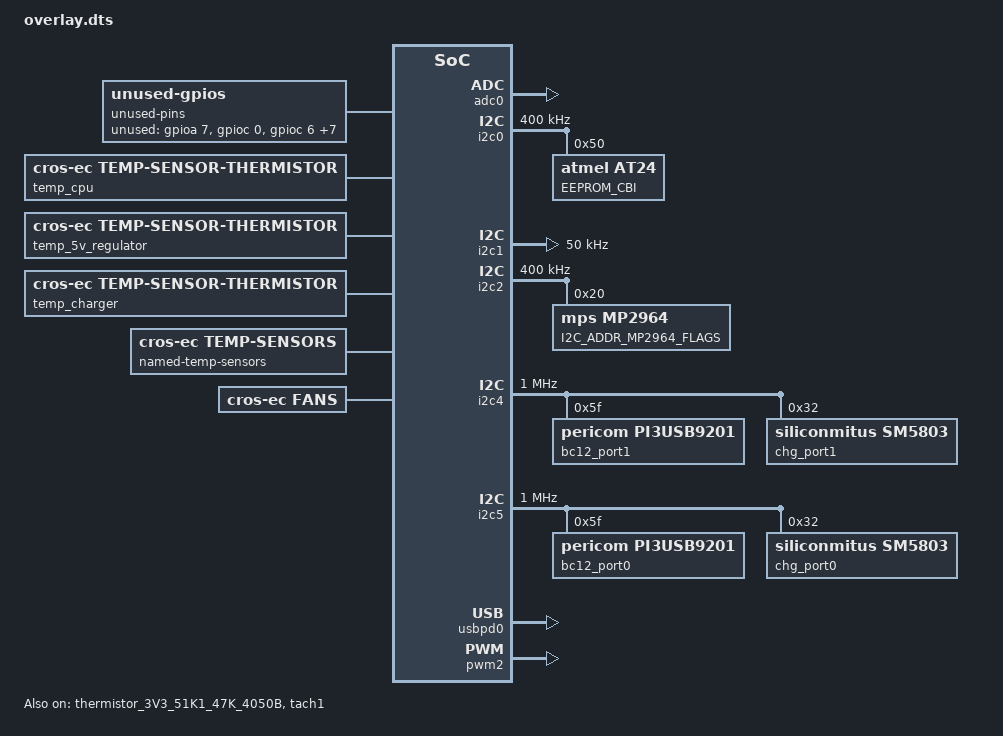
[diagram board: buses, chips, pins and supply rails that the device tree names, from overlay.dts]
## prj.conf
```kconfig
# Copyright 2022 The ChromiumOS Authors
# Use of this source code is governed by a BSD-style license that can be
# found in the LICENSE file.

CONFIG_BOARD_YAVIKS=y

# Ensure recovery key combination (esc+refresh+power) is reliable: b/236580049
CONFIG_PLATFORM_EC_KEYBOARD_PWRBTN_ASSERTS_KSI3=y
CONFIG_PLATFORM_EC_KEYBOARD_REFRESH_ROW3=y

# Sensors: disabled; yaviks is clamshell-only
CONFIG_PLATFORM_EC_LID_ANGLE=n
CONFIG_PLATFORM_EC_LID_ANGLE_UPDATE=n
CONFIG_PLATFORM_EC_CONSOLE_CMD_ACCELS=n
CONFIG_PLATFORM_EC_CONSOLE_CMD_ACCEL_INFO=n
CONFIG_PLATFORM_EC_ACCEL_FIFO=n
CONFIG_PLATFORM_EC_SENSOR_TIGHT_TIMESTAMPS=n
CONFIG_PLATFORM_EC_GMR_TABLET_MODE=n
CONFIG_PLATFORM_EC_TABLET_MODE=n
CONFIG_PLATFORM_EC_TABLET_MODE_SWITCH=n
CONFIG_PLATFORM_EC_VOLUME_BUTTONS=n
CONFIG_PLATFORM_EC_MAX_SENSOR_FREQ_MILLIHZ=100000

# Keyboard
CONFIG_PLATFORM_EC_KEYBOARD_KEYPAD=y
CONFIG_PLATFORM_EC_KBLIGHT_ENABLE_PIN=n

# Fan
CONFIG_PLATFORM_EC_FAN=y

# LED
CONFIG_PLATFORM_EC_LED_PWM=n
```

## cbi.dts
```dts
/* Copyright 2022 The ChromiumOS Authors
 * Use of this source code is governed by a BSD-style license that can be
 * found in the LICENSE file.
 */

/ {
	/* Craask-specific fw_config fields. */
	nissa-fw-config {
		/*
		 * FW_CONFIG field for multiple wi-fi SAR.
		 *
		 *	start = <2>;
		 *	size = <2>;
		 */

		/*
		 * FW_CONFIG field to enable fan or not.
		 */
		fan {
			enum-name = "FW_FAN";
			start = <4>;
			size = <1>;

			no-fan {
				compatible = "cros-ec,cbi-fw-config-value";
				enum-name = "FW_FAN_NOT_PRESENT";
				value = <0>;
			};
			fan-present {
				compatible = "cros-ec,cbi-fw-config-value";
				enum-name = "FW_FAN_PRESENT";
				value = <1>;
				/*
				 * Set as default so that unprovisioned
				 * configs will run the fan regardless.
				 */
				default;
			};
		};

		/*
		 * FW_CONFIG field to indicate which keyboard layout
		 * should be used.
		 */
		keyboard {
			enum-name = "FW_KB_LAYOUT";
			start = <5>;
			size = <1>;

			layout-1 {
				compatible = "cros-ec,cbi-fw-config-value";
				enum-name = "FW_KB_LAYOUT_DEFAULT";
				value = <0>;
				default;
			};
			layout-2 {
				compatible = "cros-ec,cbi-fw-config-value";
				enum-name = "FW_KB_LAYOUT_US2";
				value = <1>;
			};
		};

		/*
		 * FW_CONFIG field to indicate which keyboard layout
		 * should be used.
		 */
		keyboard-backlight {
			enum-name = "FW_KB_BACKLIGHT";
			start = <6>;
			size = <1>;

			without-keyboard-backlight {
				compatible = "cros-ec,cbi-fw-config-value";
				enum-name = "FW_KB_BACKLIGHT_OFF";
				value = <1>;
			};
			with-keyboard-backlight {
				compatible = "cros-ec,cbi-fw-config-value";
				enum-name = "FW_KB_BACKLIGHT_ON";
				value = <0>;
				default;
			};
		};

		/*
		 * FW_CONFIG field for multiple touch panel.
		 *
		 *	start = <7>;
		 *	size = <2>;
		 */

		/*
		 * FW_CONFIG field for multiple storage.
		 *
		 *	start = <31>;
		 *	size = <1>;
		 */
	};
};
```

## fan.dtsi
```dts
/* Copyright 2022 The ChromiumOS Authors
 * Use of this source code is governed by a BSD-style license that can be
 * found in the LICENSE file.
 */
/ {
	fans {
		compatible = "cros-ec,fans";
		fan_0 {
			pwms = <&pwm2 PWM_CHANNEL_2 PWM_KHZ(25) PWM_POLARITY_NORMAL>;
			tach = <&tach1>;
			rpm_min = <2500>;
			rpm_start = <2500>;
			rpm_max = <4100>;
			rpm_deviation = <1>;
			enable_gpio = <&gpio_fan_enable>;
		};
	};
	fan_steps {
		compatible = "cros-ec,fan-steps";
		level_0 {
			temp_on = <44 47 0>;
			temp_off = <99 99 99>;
			rpm_target = <0 0>;
		};
		level_1 {
			temp_on = <48 48 0>;
			temp_off = <43 45 99>;
			rpm_target = <2600 0>;
		};
		level_2 {
			temp_on = <50 49 0>;
			temp_off = <47 46 99>;
			rpm_target = <2800 0>;
		};
		level_3 {
			temp_on = <52 50 54>;
			temp_off = <49 47 51>;
			rpm_target = <3000 0>;
		};
		level_4 {
			temp_on = <54 56 60>;
			temp_off = <51 48 52>;
			rpm_target = <3300 0>;
		};
		level_5 {
			temp_on = <60 60 64>;
			temp_off = <53 52 56>;
			rpm_target = <3600 0>;
		};
		level_6 {
			temp_on = <100 100 100>;
			temp_off = <59 54 58>;
			rpm_target = <4100 0>;
		};
	};
};
/* pwm for fan */
&pwm2 {
	status = "okay";
	prescaler-cx = <PWM_PRESCALER_C6>;
	pinctrl-0 = <&pwm2_gpa2_default>;
	pinctrl-names = "default";
};
/* fan tachometer sensor */
&tach1 {
	status = "okay";
	channel = <IT8XXX2_TACH_CHANNEL_A>;
	pulses-per-round = <2>;
	pinctrl-0 = <&tach1a_gpd7_default>;
	pinctrl-names = "default";
};
```

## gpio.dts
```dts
/*
 * Copyright 2022 The ChromiumOS Authors
 * Use of this source code is governed by a BSD-style license that can be
 * found in the LICENSE file.
 */

/ {

	named-adc-channels {
		compatible = "named-adc-channels";

		adc_ec_vsense_pp1050_proc: ec_vsense_pp1050_proc {
			enum-name = "ADC_PP1050_PROC";
			io-channels = <&adc0 14>;
		};
		adc_ec_vsense_pp3300_s5: ec_vsense_pp3300_s5 {
			enum-name = "ADC_PP3300_S5";
			io-channels = <&adc0 0>;
		};
		adc_temp_sensor_1: temp_sensor_1 {
			enum-name = "ADC_TEMP_SENSOR_1";
			io-channels = <&adc0 2>;
		};
		adc_temp_sensor_2: temp_sensor_2 {
			enum-name = "ADC_TEMP_SENSOR_2";
			io-channels = <&adc0 3>;
		};
		adc_temp_sensor_3: temp_sensor_3 {
			enum-name = "ADC_TEMP_SENSOR_3";
			io-channels = <&adc0 13>;
		};
	};

	named-gpios {
		compatible = "named-gpios";

		gpio_all_sys_pwrgd: all_sys_pwrgd {
			gpios = <&gpiob 7 GPIO_INPUT>;
		};
		gpio_ccd_mode_odl: ccd_mode_odl {
			gpios = <&gpioh 5 GPIO_INPUT>;
			enum-name = "GPIO_CCD_MODE_ODL";
		};
		gpio_cpu_c10_gate_l: cpu_c10_gate_l {
			gpios = <&gpiog 1 GPIO_INPUT>;
		};
		gpio_ec_battery_pres_odl: ec_battery_pres_odl {
			gpios = <&gpioi 4 GPIO_INPUT>;
			enum-name = "GPIO_BATT_PRES_ODL";
		};
		gpio_ec_cbi_wp: ec_cbi_wp {
			gpios = <&gpioj 5 GPIO_OUTPUT>;
		};
		gpio_ec_edp_bl_en_od: ec_edp_bl_en_od {
			gpios = <&gpiok 4 GPIO_ODR_HIGH>;
			enum-name = "GPIO_ENABLE_BACKLIGHT";
		};
		gpio_ec_entering_rw: ec_entering_rw {
			gpios = <&gpioc 7 GPIO_OUTPUT>;
			enum-name = "GPIO_ENTERING_RW";
		};
		gpio_ec_gsc_packet_mode: ec_gsc_packet_mode {
			gpios = <&gpioh 1 GPIO_OUTPUT>;
			enum-name = "GPIO_PACKET_MODE_EN";
		};
		gpio_ec_pch_wake_odl: ec_pch_wake_odl {
			gpios = <&gpiob 2 GPIO_ODR_LOW>;
		};
		gpio_ec_prochot_odl: ec_prochot_odl {
			gpios = <&gpioi 1 (GPIO_ODR_HIGH | GPIO_VOLTAGE_1P8)>;
		};
		gpio_ec_soc_dsw_pwrok: ec_soc_dsw_pwrok {
			gpios = <&gpiol 7 GPIO_OUTPUT>;
			no-auto-init;
		};
		gpio_ec_soc_hdmi_hpd: ec_soc_hdmi_hpd {
			gpios = <&gpiok 7 GPIO_OUTPUT>;
		};
		gpio_ec_soc_int_odl: ec_soc_int_odl {
			gpios = <&gpiod 5 GPIO_ODR_HIGH>;
			enum-name = "GPIO_EC_INT_L";
		};
		gpio_ec_soc_pch_pwrok_od: ec_soc_pch_pwrok_od {
			gpios = <&gpiod 6 GPIO_ODR_HIGH>;
			no-auto-init;
		};
		gpio_ec_soc_pwr_btn_odl: ec_soc_pwr_btn_odl {
			gpios = <&gpiob 6 GPIO_ODR_HIGH>;
			enum-name = "GPIO_PCH_PWRBTN_L";
		};
		gpio_ec_soc_rsmrst_l: ec_soc_rsmrst_l {
			gpios = <&gpioh 0 GPIO_OUTPUT>;
			no-auto-init;
		};
		gpio_ec_soc_rtcrst: ec_soc_rtcrst {
			gpios = <&gpiok 2 GPIO_OUTPUT>;
		};
		gpio_ec_soc_sys_pwrok: ec_soc_sys_pwrok {
			gpios = <&gpiof 2 GPIO_OUTPUT>;
			no-auto-init;
		};
		gpio_ec_soc_vccst_pwrgd_od: ec_soc_vccst_pwrgd_od {
			gpios = <&gpioe 5 GPIO_ODR_HIGH>;
			no-auto-init;
		};
		gpio_ec_wp_odl: ec_wp_odl {
			gpios = <&gpioa 6 (GPIO_INPUT | GPIO_ACTIVE_LOW)>;
		};
		gpio_en_pp3300_s5: en_pp3300_s5 {
			gpios = <&gpioc 5 GPIO_OUTPUT>;
			enum-name = "GPIO_TEMP_SENSOR_POWER";
			no-auto-init;
		};
		gpio_en_pp5000_pen_x: en_pp5000_pen_x {
			gpios = <&gpiob 5 GPIO_OUTPUT>;
		};
		gpio_en_pp5000_s5: en_pp5000_s5 {
			gpios = <&gpiok 5 GPIO_OUTPUT>;
			no-auto-init;
		};
		gpio_en_slp_z: en_slp_z {
			gpios = <&gpiok 3 GPIO_OUTPUT>;
		};
		gpio_en_usb_a0_vbus: en_usb_a0_vbus {
			gpios = <&gpiol 6 GPIO_OUTPUT>;
		};
		gpio_en_usb_c0_cc1_vconn: en_usb_c0_cc1_vconn {
			gpios = <&gpioh 4 GPIO_OUTPUT>;
		};
		gpio_en_usb_c0_cc2_vconn: en_usb_c0_cc2_vconn {
			gpios = <&gpioh 6 GPIO_OUTPUT>;
		};
		gpio_gsc_ec_pwr_btn_odl: gsc_ec_pwr_btn_odl {
			gpios = <&gpioe 2 GPIO_INPUT_PULL_UP>;
			enum-name = "GPIO_POWER_BUTTON_L";
		};
		gpio_imvp91_vrrdy_od: imvp91_vrrdy_od {
			gpios = <&gpioj 4 GPIO_INPUT>;
			no-auto-init;
		};
		gpio_lid_open: lid_open {
			gpios = <&gpiof 3 GPIO_INPUT>;
			enum-name = "GPIO_LID_OPEN";
		};
		gpio_pen_detect_odl: pen_detect_odl {
			gpios = <&gpioj 1 GPIO_INPUT_PULL_UP>;
		};
		gpio_pg_pp1050_mem_s3_od: pg_pp1050_mem_s3_od {
			gpios = <&gpiod 3 GPIO_INPUT>;
		};
		gpio_pg_pp5000_s5_od: pg_pp5000_s5_od {
			gpios = <&gpioe 3 GPIO_INPUT>;
		};
		gpio_rsmrst_pwrgd_l: rsmrst_pwrgd_l {
			gpios = <&gpioe 1 GPIO_INPUT_PULL_UP>;
			no-auto-init;
		};
		gpio_slp_s0_l: slp_s0_l {
			gpios = <&gpioe 4 GPIO_INPUT>;
			no-auto-init;
		};
		gpio_slp_s3_l: slp_s3_l {
			gpios = <&gpioh 3 GPIO_INPUT>;
			no-auto-init;
		};
		gpio_slp_s4_l: slp_s4_l {
			gpios = <&gpioi 5 GPIO_INPUT>;
		};
		gpio_slp_sus_l: slp_sus_l {
			gpios = <&gpiog 2 GPIO_INPUT>;
			no-auto-init;
		};
		gpio_sub_usb_a1_ilimit_sdp: sub_usb_a1_ilimit_sdp {
			gpios = <&gpiof 1 GPIO_OUTPUT>;
			enum-name = "GPIO_USB2_ILIM_SEL";
		};
		gpio_sys_rst_odl: sys_rst_odl {
			gpios = <&gpiod 1 GPIO_ODR_HIGH>;
			no-auto-init;
		};
		gpio_usb_a0_ilimit_sdp: usb_a0_ilimit_sdp {
			gpios = <&gpiol 5 GPIO_OUTPUT>;
			enum-name = "GPIO_USB1_ILIM_SEL";
		};
		gpio_usb_c0_frs: usb_c0_frs {
			gpios = <&gpioc 4 GPIO_OUTPUT>;
		};
		gpio_usb_c0_int_odl: usb_c0_int_odl {
			gpios = <&gpiok 0 GPIO_INPUT_PULL_UP>;
		};
		gpio_vccin_aux_vid0: vccin_aux_vid0 {
			gpios = <&gpiod 0 (GPIO_INPUT | GPIO_VOLTAGE_1P8)>;
		};
		gpio_vccin_aux_vid1: vccin_aux_vid1 {
			gpios = <&gpiok 1 (GPIO_INPUT | GPIO_VOLTAGE_1P8)>;
		};
		gpio_c1_charger_led_white_l: c1_charger_led_white_l {
			gpios = <&gpiol 4 GPIO_OUTPUT_HIGH>;
		};
		gpio_c1_charger_led_amber_l: c1_charger_led_amber_l {
			gpios = <&gpiod 4 GPIO_OUTPUT_HIGH>;
		};
		gpio_c0_charger_led_white_l: c0_charger_led_white_l {
			gpios = <&gpioc 3 GPIO_OUTPUT_HIGH>;
		};
		gpio_c0_charger_led_amber_l: c0_charger_led_amber_l {
			gpios = <&gpioj 7 GPIO_OUTPUT_HIGH>;
		};
	};

	named-i2c-ports {
		compatible = "named-i2c-ports";

		i2c_ec_i2c_eeprom: ec_i2c_eeprom {
			i2c-port = <&i2c0>;
			enum-names = "I2C_PORT_EEPROM";
		};
		i2c_ec_i2c_batt: ec_i2c_batt {
			i2c-port = <&i2c1>;
			enum-names = "I2C_PORT_BATTERY";
		};
		i2c_ec_i2c_sensor: ec_i2c_sensor {
			i2c-port = <&i2c2>;
			enum-names = "I2C_PORT_SENSOR";
		};
		i2c_ec_i2c_sub_usb_c1: ec_i2c_sub_usb_c1 {
			i2c-port = <&i2c4>;
			enum-names = "I2C_PORT_USB_C1_TCPC";
		};
		i2c_ec_i2c_usb_c0: ec_i2c_usb_c0 {
			i2c-port = <&i2c5>;
			enum-names = "I2C_PORT_USB_C0_TCPC";
		};
	};
};
```

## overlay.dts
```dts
/* Copyright 2022 The ChromiumOS Authors
 * Use of this source code is governed by a BSD-style license that can be
 * found in the LICENSE file.
 */

#include <cros/thermistor/thermistor.dtsi>

/ {
	aliases {
		gpio-cbi-wp = &gpio_ec_cbi_wp;
		gpio-wp = &gpio_ec_wp_odl;
		int-wp = &int_wp_l;
		/*
		 * USB-C: interrupt input.
		 * I2C pins are on i2c_ec_i2c_sub_usb_c1
		 */
		gpio-usb-c1-int-odl = &gpio_sb_1;
		/*
		 * USB-A: VBUS enable output
		 * LTE: power enable output
		 */
		gpio-en-usb-a1-vbus = &gpio_sb_2;
		/*
		 * Enable S5 rails for LTE sub-board
		 */
		gpio-en-sub-s5-rails = &gpio_sb_2;
	};

	ec-console {
		compatible = "ec-console";
		disabled = "events", "lpc", "hostcmd";
	};

	batteries {
		default_battery: cosmx {
			compatible = "cosmx,gh02047xl", "battery-smart";
		};
		dynapack_atl_gh02047xl {
			compatible = "dynapack,atl_gh02047xl", "battery-smart";
		};
		dynapack_cosmx_gh02047xl {
			compatible = "dynapack,cosmx_gh02047xl", "battery-smart";
		};
		smp_coslight_gh02047xl {
			compatible = "smp,coslight_gh02047xl", "battery-smart";
		};
		smp_highpower_gh02047xl {
			compatible = "smp,highpower_gh02047xl", "battery-smart";
		};
		default_battery_3s:cosmx_si03058xl {
			compatible = "cosmx,si03058xl", "battery-smart";
		};
		smp_highpower_si03058xl {
			compatible = "smp,highpower_si03058xl", "battery-smart";
		};
	};

	hibernate-wake-pins {
		compatible = "cros-ec,hibernate-wake-pins";
		wakeup-irqs = <
			&int_power_button
			&int_lid_open
		>;
	};

	gpio-interrupts {
		compatible = "cros-ec,gpio-interrupts";

		int_power_button: power_button {
			irq-pin = <&gpio_gsc_ec_pwr_btn_odl>;
			flags = <GPIO_INT_EDGE_BOTH>;
			handler = "power_button_interrupt";
		};
		int_wp_l: wp_l {
			irq-pin = <&gpio_ec_wp_odl>;
			flags = <GPIO_INT_EDGE_BOTH>;
			handler = "switch_interrupt";
		};
		int_lid_open: lid_open {
			irq-pin = <&gpio_lid_open>;
			flags = <GPIO_INT_EDGE_BOTH>;
			handler = "lid_interrupt";
		};
		int_usb_c0: usb_c0 {
			irq-pin = <&gpio_usb_c0_int_odl>;
			flags = <GPIO_INT_EDGE_FALLING>;
			handler = "usb_c0_interrupt";
		};
		int_usb_c1: usb_c1 {
			irq-pin = <&gpio_sb_1>;
			flags = <GPIO_INT_EDGE_FALLING>;
			handler = "usb_c1_interrupt";
		};
	};

	unused-pins {
		compatible = "unused-gpios";
		unused-gpios = <&gpioa 7 0>,
			       <&gpioc 0 0>,
			       <&gpioc 6 0>,
			       <&gpiod 7 0>,
			       <&gpioh 2 0>,
			       <&gpioi 6 0>,
			       <&gpioi 7 0>,
			       <&gpioj 0 0>,
			       <&gpioj 3 0>,
			       <&gpiok 7 GPIO_OUTPUT>;
	};

	named-gpios {
		/*
		 * EC doesn't take any specific action on CC/SBU disconnect due to
		 * fault, but this definition is useful for hardware testing.
		 */
		gpio_usb_c0_prot_fault_odl: usb_c0_prot_fault_odl {
			gpios = <&gpiok 6 GPIO_INPUT_PULL_UP>;
		};

		gpio_sb_1: sb_1 {
			gpios = <&gpioe 6 0>;
			no-auto-init;
		};
		gpio_sb_2: sb_2 {
			gpios = <&gpiof 0 0>;
			no-auto-init;
		};
		gpio_fan_enable: fan-enable {
			gpios = <&gpioa 1 GPIO_OUTPUT>;
			no-auto-init;
		};
	};

	temp_cpu: cpu {
		compatible = "cros-ec,temp-sensor-thermistor";
		thermistor = <&thermistor_3V3_51K1_47K_4050B>;
		adc = <&adc_temp_sensor_1>;
	};
	temp_5v_regulator: 5v_regulator {
		compatible = "cros-ec,temp-sensor-thermistor";
		thermistor = <&thermistor_3V3_51K1_47K_4050B>;
		adc = <&adc_temp_sensor_2>;
	};
	temp_charger: charger {
		compatible = "cros-ec,temp-sensor-thermistor";
		thermistor = <&thermistor_3V3_51K1_47K_4050B>;
		adc = <&adc_temp_sensor_3>;
	};

	named-temp-sensors {
		compatible = "cros-ec,temp-sensors";
		cpu {
			temp_fan_off = <45>;
			temp_fan_max = <60>;
			temp_host_high = <75>;
			temp_host_halt = <85>;
			temp_host_release_high = <65>;
			power-good-pin = <&gpio_ec_soc_dsw_pwrok>;
			sensor = <&temp_cpu>;
		};
		5v_regulator {
			temp_fan_off = <50>;
			temp_fan_max = <65>;
			temp_host_high = <75>;
			temp_host_halt = <85>;
			temp_host_release_high = <65>;
			power-good-pin = <&gpio_ec_soc_dsw_pwrok>;
			sensor = <&temp_5v_regulator>;
		};
		charger {
			temp_fan_off = <50>;
			temp_fan_max = <65>;
			temp_host_high = <80>;
			temp_host_halt = <85>;
			temp_host_release_high = <75>;
			power-good-pin = <&gpio_ec_soc_dsw_pwrok>;
			sensor = <&temp_charger>;
		};
	};

	usba {
		compatible = "cros-ec,usba-port-enable-pins";
		/*
		 * sb_2 is only configured as GPIO when USB-A1 is present,
		 * but it's still safe to control when disabled.
		 *
		 * ILIM_SEL pins are referred to by legacy enum name,
		 * GPIO_USB*_ILIM_SEL. The one for port A1 is unused on
		 * sub-boards that don't have USB-A so is safe to control
		 * regardless of system configuration.
		 */
		enable-pins = <&gpio_en_usb_a0_vbus &gpio_sb_2>;
		status = "okay";
	};

	usbc {
		#address-cells = <1>;
		#size-cells = <0>;

		port0@0 {
			compatible = "named-usbc-port";
			reg = <0>;
			bc12 = <&bc12_port0>;
			chg = <&chg_port0>;
			usb-mux-chain-0 {
				compatible = "cros-ec,usb-mux-chain";
				usb-muxes = <&virtual_mux_0>;
			};
		};
		port0-muxes {
			virtual_mux_0: virtual-mux-0 {
				compatible = "cros-ec,usbc-mux-virtual";
			};
		};
		port1@1 {
			compatible = "named-usbc-port";
			reg = <1>;
			bc12 = <&bc12_port1>;
			chg = <&chg_port1>;
			usb-mux-chain-1 {
				compatible = "cros-ec,usb-mux-chain";
				usb-muxes = <&virtual_mux_1 &tcpci_mux_1>;
			};
			usb_mux_chain_1_no_mux: usb-mux-chain-1-no-mux {
				compatible = "cros-ec,usb-mux-chain";
				alternative-chain;
				usb-muxes = <&virtual_mux_1>;
			};
		};
		port1-muxes {
			virtual_mux_1: virtual-mux-1 {
				compatible = "cros-ec,usbc-mux-virtual";
			};
			tcpci_mux_1: tcpci-mux-1 {
				compatible = "parade,usbc-mux-ps8xxx";
			};
		};
	};

	fans {
		compatible = "cros-ec,fans";
		fan_0 {
			pwms = <&pwm2 PWM_CHANNEL_2 PWM_KHZ(25) PWM_POLARITY_NORMAL>;
			tach = <&tach1>;
			rpm_min = <2600>;
			rpm_start = <2600>;
			rpm_max = <4100>;
			enable_gpio = <&gpio_fan_enable>;
		};
	};
};

&thermistor_3V3_51K1_47K_4050B {
	status = "okay";
};

&adc_ec_vsense_pp3300_s5 {
	/*
	 * Voltage divider on input has 47k upper and 220k lower legs with 3 V
	 * full-scale reading on the ADC. Apply the largest possible multiplier
	 * (without overflowing int32) to get the best possible approximation
	 * of the actual ratio, but derate by a factor of two to ensure
	 * unexpectedly high values won't overflow.
	 */
	mul = <(715828 / 2)>;
	div = <(589820 / 2)>;
};

&adc0 {
	pinctrl-0 = <&adc0_ch0_gpi0_default
		     &adc0_ch2_gpi2_default
		     &adc0_ch3_gpi3_default
		     &adc0_ch13_gpl0_default
		     &adc0_ch14_gpl1_default>;
	pinctrl-names = "default";
	status = "okay";
};

&pinctrl {
	i2c4_clk_gpe0_sleep: i2c4_clk_gpe0_sleep {
		pinmuxs = <&pinctrle 0 IT8XXX2_ALT_DEFAULT>;
	};
	i2c4_data_gpe7_sleep: i2c4_data_gpe7_sleep {
		pinmuxs = <&pinctrle 7 IT8XXX2_ALT_DEFAULT>;
	};
	i2c2_clk_gpf6_default: i2c2_clk_gpf6_default {
		gpio-voltage = "1v8";
	};
	i2c2_data_gpf7_default: i2c2_data_gpf7_default {
		gpio-voltage = "1v8";
	};
};

&i2c0 {
	label = "I2C_EEPROM";
	clock-frequency = <I2C_BITRATE_FAST>;

	cbi_eeprom: eeprom@50 {
		compatible = "atmel,at24";
		reg = <0x50>;
		label = "EEPROM_CBI";
		size = <2048>;
		pagesize = <16>;
		address-width = <8>;
		timeout = <5>;
	};
	pinctrl-0 = <&i2c0_clk_gpb3_default
		     &i2c0_data_gpb4_default>;
	pinctrl-names = "default";
	status = "okay";
};

&i2c1 {
	label = "I2C_BATTERY";
	clock-frequency = <50000>;
	pinctrl-0 = <&i2c1_clk_gpc1_default
		     &i2c1_data_gpc2_default>;
	pinctrl-names = "default";
	status = "okay";
};

&i2c2 {
	label = "I2C_SENSOR";
	clock-frequency = <I2C_BITRATE_FAST>;
	pinctrl-0 = <&i2c2_clk_gpf6_default
		     &i2c2_data_gpf7_default>;
	pinctrl-names = "default";
	status = "okay";

	pmic_mp2964: pmic_mp2964@20 {
		compatible = "mps,mp2964";
		reg = <0x20>;
		label = "I2C_ADDR_MP2964_FLAGS";
	};


};

&i2c4 {
	label = "I2C_SUB_C1_TCPC";
	clock-frequency = <I2C_BITRATE_FAST_PLUS>;
	pinctrl-0 = <&i2c4_clk_gpe0_default
		     &i2c4_data_gpe7_default>;
	pinctrl-1 = <&i2c4_clk_gpe0_sleep
		     &i2c4_data_gpe7_sleep>;
	pinctrl-names = "default", "sleep";
	status = "okay";

	bc12_port1: pi3usb9201@5f {
		compatible = "pericom,pi3usb9201";
		status = "okay";
		reg = <0x5f>;
	};

	chg_port1: sm5803@32 {
		compatible = "siliconmitus,sm5803";
		status = "okay";
		reg = <0x32>;
	};
};

&i2c_ec_i2c_sub_usb_c1 {
	/*
	 * Dynamic speed setting is used for AP-controlled firmware update
	 * of PS8745 TCPC/redriver: the AP lowers speed to 400 kHz in order
	 * to use more efficient window programming, then sets it back when
	 * done.
	 */
	dynamic-speed;
};

&i2c5 {
	label = "I2C_USB_C0_TCPC";
	clock-frequency = <I2C_BITRATE_FAST_PLUS>;
	pinctrl-0 = <&i2c5_clk_gpa4_default
		     &i2c5_data_gpa5_default>;
	pinctrl-names = "default";
	status = "okay";

	bc12_port0: pi3usb9201@5f {
		compatible = "pericom,pi3usb9201";
		status = "okay";
		reg = <0x5f>;
	};

	chg_port0: sm5803@32 {
		compatible = "siliconmitus,sm5803";
		status = "okay";
		reg = <0x32>;
	};
};

&usbpd0 {
	status = "okay";
};

/* pwm for fan */
&pwm2 {
	status = "okay";
	prescaler-cx = <PWM_PRESCALER_C6>;
	pinctrl-0 = <&pwm2_gpa2_default>;
	pinctrl-names = "default";
};
/* fan tachometer sensor */
&tach1 {
	status = "okay";
	channel = <IT8XXX2_TACH_CHANNEL_A>;
	pulses-per-round = <2>;
	pinctrl-0 = <&tach1a_gpd7_default>;
	pinctrl-names = "default";
};
```

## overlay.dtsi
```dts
/* Copyright 2022 The ChromiumOS Authors
 * Use of this source code is governed by a BSD-style license that can be
 * found in the LICENSE file.
 */

#include <cros/thermistor/thermistor.dtsi>

/ {
	aliases {
		gpio-cbi-wp = &gpio_ec_cbi_wp;
		gpio-wp = &gpio_ec_wp_odl;
		int-wp = &int_wp_l;
	};

	ec-console {
		compatible = "ec-console";
		disabled = "events", "lpc", "hostcmd";
	};

	batteries {
		default_battery: cosmx {
			compatible = "cosmx,gh02047xl", "battery-smart";
		};
		dynapack_atl_gh02047xl {
			compatible = "dynapack,atl_gh02047xl", "battery-smart";
		};
		dynapack_cosmx_gh02047xl {
			compatible = "dynapack,cosmx_gh02047xl", "battery-smart";
		};
		smp_coslight_gh02047xl {
			compatible = "smp,coslight_gh02047xl", "battery-smart";
		};
		smp_highpower_gh02047xl {
			compatible = "smp,highpower_gh02047xl", "battery-smart";
		};
		default_battery_3s:cosmx_si03058xl {
			compatible = "cosmx,si03058xl", "battery-smart";
		};
		smp_highpower_si03058xl {
			compatible = "smp,highpower_si03058xl", "battery-smart";
		};
	};

	hibernate-wake-pins {
		compatible = "cros-ec,hibernate-wake-pins";
		wakeup-irqs = <
			&int_power_button
			&int_lid_open
		>;
	};

	gpio-interrupts {
		compatible = "cros-ec,gpio-interrupts";

		int_power_button: power_button {
			irq-pin = <&gpio_gsc_ec_pwr_btn_odl>;
			flags = <GPIO_INT_EDGE_BOTH>;
			handler = "power_button_interrupt";
		};
		int_wp_l: wp_l {
			irq-pin = <&gpio_ec_wp_odl>;
			flags = <GPIO_INT_EDGE_BOTH>;
			handler = "switch_interrupt";
		};
		int_lid_open: lid_open {
			irq-pin = <&gpio_lid_open>;
			flags = <GPIO_INT_EDGE_BOTH>;
			handler = "lid_interrupt";
		};
		int_usb_c0: usb_c0 {
			irq-pin = <&gpio_usb_c0_int_odl>;
			flags = <GPIO_INT_EDGE_FALLING>;
			handler = "usb_c0_interrupt";
		};
		int_usb_c1: usb_c1 {
			irq-pin = <&gpio_usb_c1_int_odl>;
			flags = <GPIO_INT_EDGE_FALLING>;
			handler = "usb_c1_interrupt";
		};
	};

	unused-pins {
		compatible = "unused-gpios";
		unused-gpios = <&gpioa 7 0>,
			       <&gpioc 0 0>,
			       <&gpioc 6 0>,
			       <&gpiod 7 0>,
			       <&gpioh 2 0>,
			       <&gpioi 6 0>,
			       <&gpioi 7 0>,
			       <&gpioj 0 0>,
			       <&gpioj 3 0>,
			       <&gpiok 7 GPIO_OUTPUT>;
	};

	named-gpios {
		/*
		 * EC doesn't take any specific action on CC/SBU disconnect due to
		 * fault, but this definition is useful for hardware testing.
		 */
		gpio_usb_c0_prot_fault_odl: usb_c0_prot_fault_odl {
			gpios = <&gpiok 6 GPIO_INPUT_PULL_UP>;
		};
		gpio_fan_enable: fan-enable {
			gpios = <&gpioa 1 GPIO_OUTPUT>;
			no-auto-init;
		};
	};

	temp_cpu: cpu {
		compatible = "cros-ec,temp-sensor-thermistor";
		thermistor = <&thermistor_3V3_51K1_47K_4050B>;
		adc = <&adc_temp_sensor_1>;
	};
	temp_5v_regulator: 5v_regulator {
		compatible = "cros-ec,temp-sensor-thermistor";
		thermistor = <&thermistor_3V3_51K1_47K_4050B>;
		adc = <&adc_temp_sensor_2>;
	};
	temp_charger: charger {
		compatible = "cros-ec,temp-sensor-thermistor";
		thermistor = <&thermistor_3V3_51K1_47K_4050B>;
		adc = <&adc_temp_sensor_3>;
	};

	named-temp-sensors {
		compatible = "cros-ec,temp-sensors";
		cpu {
			temp_fan_off = <45>;
			temp_fan_max = <60>;
			temp_host_high = <75>;
			temp_host_halt = <85>;
			temp_host_release_high = <65>;
			power-good-pin = <&gpio_ec_soc_dsw_pwrok>;
			sensor = <&temp_cpu>;
		};
		5v_regulator {
			temp_fan_off = <50>;
			temp_fan_max = <65>;
			temp_host_high = <75>;
			temp_host_halt = <85>;
			temp_host_release_high = <65>;
			power-good-pin = <&gpio_ec_soc_dsw_pwrok>;
			sensor = <&temp_5v_regulator>;
		};
		charger {
			temp_fan_off = <50>;
			temp_fan_max = <65>;
			temp_host_high = <80>;
			temp_host_halt = <85>;
			temp_host_release_high = <75>;
			power-good-pin = <&gpio_ec_soc_dsw_pwrok>;
			sensor = <&temp_charger>;
		};
	};

	usba {
		compatible = "cros-ec,usba-port-enable-pins";
		/*
		 * ILIM_SEL pins are referred to by legacy enum name,
		 * GPIO_USB*_ILIM_SEL.
		 */
		enable-pins = <&gpio_en_usb_a0_vbus &gpio_en_usb_a1_vbus>;
		status = "okay";
	};

	usbc {
		#address-cells = <1>;
		#size-cells = <0>;

		port0@0 {
			compatible = "named-usbc-port";
			reg = <0>;
			bc12 = <&bc12_port0>;
			chg = <&chg_port0>;
			usb-mux-chain-0 {
				compatible = "cros-ec,usb-mux-chain";
				usb-muxes = <&virtual_mux_0>;
			};
		};
		port0-muxes {
			virtual_mux_0: virtual-mux-0 {
				compatible = "cros-ec,usbc-mux-virtual";
			};
		};
		port1@1 {
			compatible = "named-usbc-port";
			reg = <1>;
			bc12 = <&bc12_port1>;
			chg = <&chg_port1>;
			usb-mux-chain-1 {
				compatible = "cros-ec,usb-mux-chain";
				usb-muxes = <&virtual_mux_1 &tcpci_mux_1>;
			};
			usb_mux_chain_1_no_mux: usb-mux-chain-1-no-mux {
				compatible = "cros-ec,usb-mux-chain";
				alternative-chain;
				usb-muxes = <&virtual_mux_1>;
			};
		};
		port1-muxes {
			virtual_mux_1: virtual-mux-1 {
				compatible = "cros-ec,usbc-mux-virtual";
			};
			tcpci_mux_1: tcpci-mux-1 {
				compatible = "parade,usbc-mux-ps8xxx";
			};
		};
	};

	fans {
		compatible = "cros-ec,fans";
		fan_0 {
			pwms = <&pwm2 PWM_CHANNEL_2 PWM_KHZ(25) PWM_POLARITY_NORMAL>;
			tach = <&tach1>;
			rpm_min = <2600>;
			rpm_start = <2600>;
			rpm_max = <4100>;
			enable_gpio = <&gpio_fan_enable>;
		};
	};
};

&thermistor_3V3_51K1_47K_4050B {
	status = "okay";
};

&adc_ec_vsense_pp3300_s5 {
	/*
	 * Voltage divider on input has 47k upper and 220k lower legs with 3 V
	 * full-scale reading on the ADC. Apply the largest possible multiplier
	 * (without overflowing int32) to get the best possible approximation
	 * of the actual ratio, but derate by a factor of two to ensure
	 * unexpectedly high values won't overflow.
	 */
	mul = <(715828 / 2)>;
	div = <(589820 / 2)>;
};

&adc0 {
	pinctrl-0 = <&adc0_ch0_gpi0_default
		     &adc0_ch2_gpi2_default
		     &adc0_ch3_gpi3_default
		     &adc0_ch13_gpl0_default
		     &adc0_ch14_gpl1_default>;
	pinctrl-names = "default";
	status = "okay";
};

&pinctrl {
	i2c4_clk_gpe0_sleep: i2c4_clk_gpe0_sleep {
		pinmuxs = <&pinctrle 0 IT8XXX2_ALT_DEFAULT>;
	};
	i2c4_data_gpe7_sleep: i2c4_data_gpe7_sleep {
		pinmuxs = <&pinctrle 7 IT8XXX2_ALT_DEFAULT>;
	};
	i2c2_clk_gpf6_default: i2c2_clk_gpf6_default {
		gpio-voltage = "1v8";
	};
	i2c2_data_gpf7_default: i2c2_data_gpf7_default {
		gpio-voltage = "1v8";
	};
};

&i2c0 {
	label = "I2C_EEPROM";
	clock-frequency = <I2C_BITRATE_FAST>;

	cbi_eeprom: eeprom@50 {
		compatible = "atmel,at24";
		reg = <0x50>;
		label = "EEPROM_CBI";
		size = <2048>;
		pagesize = <16>;
		address-width = <8>;
		timeout = <5>;
	};
	pinctrl-0 = <&i2c0_clk_gpb3_default
		     &i2c0_data_gpb4_default>;
	pinctrl-names = "default";
	status = "okay";
};

&i2c1 {
	label = "I2C_BATTERY";
	clock-frequency = <50000>;
	pinctrl-0 = <&i2c1_clk_gpc1_default
		     &i2c1_data_gpc2_default>;
	pinctrl-names = "default";
	status = "okay";
};

&i2c2 {
	label = "I2C_SENSOR";
	clock-frequency = <I2C_BITRATE_FAST>;
	pinctrl-0 = <&i2c2_clk_gpf6_default
		     &i2c2_data_gpf7_default>;
	pinctrl-names = "default";
	status = "okay";
};

&i2c4 {
	label = "I2C_SUB_C1_TCPC";
	clock-frequency = <I2C_BITRATE_FAST_PLUS>;
	pinctrl-0 = <&i2c4_clk_gpe0_default
		     &i2c4_data_gpe7_default>;
	pinctrl-1 = <&i2c4_clk_gpe0_sleep
		     &i2c4_data_gpe7_sleep>;
	pinctrl-names = "default", "sleep";
	status = "okay";

	bc12_port1: pi3usb9201@5f {
		compatible = "pericom,pi3usb9201";
		status = "okay";
		reg = <0x5f>;
	};

	chg_port1: sm5803@32 {
		compatible = "siliconmitus,sm5803";
		status = "okay";
		reg = <0x32>;
	};
};

&i2c_ec_i2c_sub_usb_c1 {
	/*
	 * Dynamic speed setting is used for AP-controlled firmware update
	 * of PS8745 TCPC/redriver: the AP lowers speed to 400 kHz in order
	 * to use more efficient window programming, then sets it back when
	 * done.
	 */
	dynamic-speed;
};

&i2c5 {
	label = "I2C_USB_C0_TCPC";
	clock-frequency = <I2C_BITRATE_FAST_PLUS>;
	pinctrl-0 = <&i2c5_clk_gpa4_default
		     &i2c5_data_gpa5_default>;
	pinctrl-names = "default";
	status = "okay";

	bc12_port0: pi3usb9201@5f {
		compatible = "pericom,pi3usb9201";
		status = "okay";
		reg = <0x5f>;
	};

	chg_port0: sm5803@32 {
		compatible = "siliconmitus,sm5803";
		status = "okay";
		reg = <0x32>;
	};
};

&usbpd0 {
	status = "okay";
};

/* pwm for fan */
&pwm2 {
	status = "okay";
	prescaler-cx = <PWM_PRESCALER_C6>;
	pinctrl-0 = <&pwm2_gpa2_default>;
	pinctrl-names = "default";
};
/* fan tachometer sensor */
&tach1 {
	status = "okay";
	channel = <IT8XXX2_TACH_CHANNEL_A>;
	pulses-per-round = <2>;
	pinctrl-0 = <&tach1a_gpd7_default>;
	pinctrl-names = "default";
};
```

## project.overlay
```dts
/* Copyright 2022 The ChromiumOS Authors
 * Use of this source code is governed by a BSD-style license that can be
 * found in the LICENSE file.
 */

#include "cbi.dtsi"
#include "gpio.dtsi"
#include "keyboard.dtsi"
#include "overlay.dtsi"
#include "power_signals.dtsi"
```

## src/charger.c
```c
/* Copyright 2022 The ChromiumOS Authors
 * Use of this source code is governed by a BSD-style license that can be
 * found in the LICENSE file.
 */

#include <zephyr/logging/log.h>

#include "battery.h"
#include "charger.h"
#include "console.h"
#include "driver/charger/sm5803.h"
#include "extpower.h"
#include "usb_pd.h"
#include "nissa_common.h"
#include "battery_fuel_gauge.h"

LOG_MODULE_DECLARE(nissa, CONFIG_NISSA_LOG_LEVEL);

int extpower_is_present(void)
{
	int port;
	int rv;
	bool acok;

	for (port = 0; port < board_get_usb_pd_port_count(); port++) {
		rv = sm5803_is_acok(port, &acok);
		if ((rv == EC_SUCCESS) && acok)
			return 1;
	}

	return 0;
}

/*
 * Yaviks does not have a GPIO indicating whether extpower is present,
 * so detect using the charger(s).
 */
__override void board_check_extpower(void)
{
	static int last_extpower_present;
	int extpower_present = extpower_is_present();

	if (last_extpower_present ^ extpower_present)
		extpower_handle_update(extpower_present);

	last_extpower_present = extpower_present;
}

__override void board_hibernate(void)
{
	/* Shut down the chargers */
	if (board_get_usb_pd_port_count() == 2)
		sm5803_hibernate(CHARGER_SECONDARY);
	sm5803_hibernate(CHARGER_PRIMARY);
	LOG_INF("Charger(s) hibernated");
	cflush();
}

__override int board_get_default_battery_type(void)
{
	int type = DEFAULT_BATTERY_TYPE;
	int cells;

	if (charger_get_battery_cells(CHARGER_PRIMARY, &cells) == EC_SUCCESS) {
		if (cells == 3)
			type = DEFAULT_BATTERY_TYPE_3S;
		if (cells != 2 && cells != 3)
			LOG_WRN("Unexpected number of cells");
	} else {
		LOG_WRN("Failed to get default battery type");
	}

	return type;
}
```

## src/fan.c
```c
/* Copyright 2022 The ChromiumOS Authors
 * Use of this source code is governed by a BSD-style license that can be
 * found in the LICENSE file.
 */
#include <zephyr/devicetree.h>
#include <zephyr/drivers/gpio.h>
#include <zephyr/logging/log.h>
#include "cros_cbi.h"
#include "fan.h"
#include "gpio/gpio.h"
#include "hooks.h"

#include <zephyr/devicetree.h>
#include <zephyr/drivers/gpio.h>
#include <zephyr/logging/log.h>
LOG_MODULE_DECLARE(nissa, CONFIG_NISSA_LOG_LEVEL);

static void fan_init(void)
{
	int ret;
	uint32_t val;
	/*
	 * Retrieve the fan config.
	 */
	ret = cros_cbi_get_fw_config(FW_FAN, &val);
	if (ret != 0) {
		LOG_ERR("Error retrieving CBI FW_CONFIG field %d", FW_FAN);
		return;
	}
	if (val != FW_FAN_PRESENT) {
		/* Disable the fan */
		fan_set_count(0);
	} else {
		/* Configure the fan enable GPIO */
		gpio_pin_configure_dt(GPIO_DT_FROM_NODELABEL(gpio_fan_enable),
				      GPIO_OUTPUT);
	}
}
DECLARE_HOOK(HOOK_INIT, fan_init, HOOK_PRIO_POST_FIRST);
```

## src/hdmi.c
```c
/* Copyright 2022 The ChromiumOS Authors
 * Use of this source code is governed by a BSD-style license that can be
 * found in the LICENSE file.
 */

#include "nissa_hdmi.h"

#include <cros_board_info.h>

__override void nissa_configure_hdmi_power_gpios(void)
{
	/*
	 * Yaviks versions before 2 need hdmi-en-odl to be
	 * pulled down to enable VCC on the HDMI port, but later
	 * versions (and other boards) disconnect this so
	 * the port's VCC directly follows en-rails-odl. Only
	 * configure the GPIO if needed, to save power.
	 */
	uint32_t board_version = 0;

	/* CBI errors ignored, will configure the pin */
	cbi_get_board_version(&board_version);
	if (board_version < 2) {
		nissa_configure_hdmi_vcc();
	}

	/* Still always need core rails controlled */
	nissa_configure_hdmi_rails();
}
```

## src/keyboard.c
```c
/* Copyright 2022 The ChromiumOS Authors
 * Use of this source code is governed by a BSD-style license that can be
 * found in the LICENSE file.
 */
#include <zephyr/logging/log.h>

#include "cros_cbi.h"
#include "ec_commands.h"
#include "hooks.h"
#include "keyboard_8042_sharedlib.h"
#include "keyboard_scan.h"
#include "timer.h"

LOG_MODULE_DECLARE(nissa, CONFIG_NISSA_LOG_LEVEL);

/* Keyboard scan setting */
__override struct keyboard_scan_config keyscan_config = {
	/* Increase from 50 us, because KSO_02 passes through the H1. */
	.output_settle_us = 80,
	/* Other values should be the same as the default configuration. */
	.debounce_down_us = 9 * MSEC,
	.debounce_up_us = 30 * MSEC,
	.scan_period_us = 3 * MSEC,
	.min_post_scan_delay_us = 1000,
	.poll_timeout_us = 100 * MSEC,
	.actual_key_mask = {
		0x1c, 0xff, 0xff, 0xff, 0xff, 0xff, 0xff,
		0xa4, 0xff, 0xf6, 0x55, 0xfe, 0xff, 0xff, 0xff, /* full set */
	},
};

static const struct ec_response_keybd_config yaviks_kb_w_kb_light = {
	.num_top_row_keys = 13,
	.action_keys = {
		TK_BACK,		/* T1 */
		TK_REFRESH,		/* T2 */
		TK_FULLSCREEN,		/* T3 */
		TK_OVERVIEW,		/* T4 */
		TK_SNAPSHOT,		/* T5 */
		TK_BRIGHTNESS_DOWN,	/* T6 */
		TK_BRIGHTNESS_UP,	/* T7 */
		TK_KBD_BKLIGHT_TOGGLE,	/* T8 */
		TK_PLAY_PAUSE,		/* T9 */
		TK_MICMUTE,		/* T10 */
		TK_VOL_MUTE,		/* T11 */
		TK_VOL_DOWN,		/* T12 */
		TK_VOL_UP,		/* T13 */
	},
	.capabilities = KEYBD_CAP_NUMERIC_KEYPAD,
};

static const struct ec_response_keybd_config yaviks_kb_wo_kb_light = {
	.num_top_row_keys = 13,
	.action_keys = {
		TK_BACK,		/* T1 */
		TK_REFRESH,		/* T2 */
		TK_FULLSCREEN,		/* T3 */
		TK_OVERVIEW,		/* T4 */
		TK_SNAPSHOT,		/* T5 */
		TK_BRIGHTNESS_DOWN,	/* T6 */
		TK_BRIGHTNESS_UP,	/* T7 */
		TK_PLAY_PAUSE,		/* T8 */
		TK_MICMUTE,		/* T9 */
		TK_VOL_MUTE,		/* T10 */
		TK_VOL_DOWN,		/* T11 */
		TK_VOL_UP,		/* T12 */
		TK_MENU,		/* T13 */
	},
	.capabilities = KEYBD_CAP_NUMERIC_KEYPAD,
};

__override const struct ec_response_keybd_config *
board_vivaldi_keybd_config(void)
{
	uint32_t val;

	cros_cbi_get_fw_config(FW_KB_BACKLIGHT, &val);

	if (val == FW_KB_BACKLIGHT_ON)
		return &yaviks_kb_w_kb_light;
	else
		return &yaviks_kb_wo_kb_light;
}

/*
 * Keyboard layout decided by FW config.
 */
static void kb_layout_init(void)
{
	int ret;
	uint32_t val;

	ret = cros_cbi_get_fw_config(FW_KB_LAYOUT, &val);
	if (ret != 0) {
		LOG_ERR("Error retrieving CBI FW_CONFIG field %d",
			FW_KB_LAYOUT);
		return;
	}
	/*
	 * If keyboard is US2(FW_KB_LAYOUT_US2), we need translate right ctrl
	 * to backslash(\|) key.
	 */
	if (val == FW_KB_LAYOUT_US2)
		set_scancode_set2(4, 0, get_scancode_set2(2, 7));
}
DECLARE_HOOK(HOOK_INIT, kb_layout_init, HOOK_PRIO_POST_FIRST);
```

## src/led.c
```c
/* Copyright 2022 The ChromiumOS Authors.
 * Use of this source code is governed by a BSD-style license that can be
 * found in the LICENSE file.
 */

#include "battery.h"
#include "charge_manager.h"
#include "charge_state.h"
#include "chipset.h"
#include "ec_commands.h"
#include "gpio.h"
#include "hooks.h"
#include "host_command.h"
#include "led_common.h"

#include <stdint.h>

#define BAT_LED_ON 0
#define BAT_LED_OFF 1

#define BATT_LOW_BCT 10

#define LED_TICKS_PER_CYCLE 4
#define LED_TICKS_PER_CYCLE_S3 4
#define LED_ON_TICKS 2
#define POWER_LED_ON_S3_TICKS 2

const enum ec_led_id supported_led_ids[] = { EC_LED_ID_LEFT_LED,
					     EC_LED_ID_RIGHT_LED };

const int supported_led_ids_count = ARRAY_SIZE(supported_led_ids);

enum led_color {
	LED_OFF = 0,
	LED_AMBER,
	LED_WHITE,
	LED_COLOR_COUNT /* Number of colors, not a color itself */
};

enum led_port { LEFT_PORT = 0, RIGHT_PORT };

static void led_set_color_battery(int port, enum led_color color)
{
	const struct gpio_dt_spec *amber_led, *white_led;

	if (port == LEFT_PORT) {
		amber_led = GPIO_DT_FROM_NODELABEL(gpio_c0_charger_led_amber_l);
		white_led = GPIO_DT_FROM_NODELABEL(gpio_c0_charger_led_white_l);
	} else if (port == RIGHT_PORT) {
		amber_led = GPIO_DT_FROM_NODELABEL(gpio_c1_charger_led_amber_l);
		white_led = GPIO_DT_FROM_NODELABEL(gpio_c1_charger_led_white_l);
	}

	switch (color) {
	case LED_WHITE:
		gpio_pin_set_dt(white_led, BAT_LED_ON);
		gpio_pin_set_dt(amber_led, BAT_LED_OFF);
		break;
	case LED_AMBER:
		gpio_pin_set_dt(white_led, BAT_LED_OFF);
		gpio_pin_set_dt(amber_led, BAT_LED_ON);
		break;
	case LED_OFF:
		gpio_pin_set_dt(white_led, BAT_LED_OFF);
		gpio_pin_set_dt(amber_led, BAT_LED_OFF);
		break;
	default:
		break;
	}
}

void led_get_brightness_range(enum ec_led_id led_id, uint8_t *brightness_range)
{
	switch (led_id) {
	case EC_LED_ID_LEFT_LED:
		brightness_range[EC_LED_COLOR_WHITE] = 1;
		brightness_range[EC_LED_COLOR_AMBER] = 1;
		break;
	case EC_LED_ID_RIGHT_LED:
		brightness_range[EC_LED_COLOR_WHITE] = 1;
		brightness_range[EC_LED_COLOR_AMBER] = 1;
		break;
	default:
		break;
	}
}

int led_set_brightness(enum ec_led_id led_id, const uint8_t *brightness)
{
	switch (led_id) {
	case EC_LED_ID_LEFT_LED:
		if (brightness[EC_LED_COLOR_WHITE] != 0)
			led_set_color_battery(LEFT_PORT, LED_WHITE);
		else if (brightness[EC_LED_COLOR_AMBER] != 0)
			led_set_color_battery(LEFT_PORT, LED_AMBER);
		else
			led_set_color_battery(LEFT_PORT, LED_OFF);
		break;
	case EC_LED_ID_RIGHT_LED:
		if (brightness[EC_LED_COLOR_WHITE] != 0)
			led_set_color_battery(RIGHT_PORT, LED_WHITE);
		else if (brightness[EC_LED_COLOR_AMBER] != 0)
			led_set_color_battery(RIGHT_PORT, LED_AMBER);
		else
			led_set_color_battery(RIGHT_PORT, LED_OFF);
		break;
	default:
		return EC_ERROR_PARAM1;
	}

	return EC_SUCCESS;
}

/*
 * Set active charge port color to the parameter, turn off all others.
 * If no port is active (-1), turn off all LEDs.
 */
static void set_active_port_color(enum led_color color)
{
	int port = charge_manager_get_active_charge_port();

	if (led_auto_control_is_enabled(EC_LED_ID_RIGHT_LED))
		led_set_color_battery(RIGHT_PORT,
				      (port == RIGHT_PORT) ? color : LED_OFF);
	if (led_auto_control_is_enabled(EC_LED_ID_LEFT_LED))
		led_set_color_battery(LEFT_PORT,
				      (port == LEFT_PORT) ? color : LED_OFF);
}

static void led_set_battery(void)
{
	static unsigned int battery_ticks;
	static int suspend_ticks;

	battery_ticks++;

	/*
	 * Override battery LEDs for Yaviks, Yaviks is non-power LED
	 * design, blinking both two side battery white LEDs to indicate
	 * system suspend with non-charging state.
	 */
	if (chipset_in_state(CHIPSET_STATE_ANY_SUSPEND) &&
	    charge_get_state() != PWR_STATE_CHARGE) {
		suspend_ticks++;

		led_set_color_battery(RIGHT_PORT,
				      suspend_ticks % LED_TICKS_PER_CYCLE_S3 <
						      POWER_LED_ON_S3_TICKS ?
					      LED_WHITE :
					      LED_OFF);
		led_set_color_battery(LEFT_PORT,
				      suspend_ticks % LED_TICKS_PER_CYCLE_S3 <
						      POWER_LED_ON_S3_TICKS ?
					      LED_WHITE :
					      LED_OFF);
		return;
	}

	suspend_ticks = 0;

	switch (charge_get_state()) {
	case PWR_STATE_CHARGE:
		/* Always indicate when charging, even in suspend. */
		set_active_port_color(LED_AMBER);
		break;
	case PWR_STATE_DISCHARGE:
		/*
		 * Blinking amber LEDs slowly if battery is lower 10
		 * percentage.
		 */
		if (led_auto_control_is_enabled(EC_LED_ID_RIGHT_LED)) {
			if (charge_get_percent() < BATT_LOW_BCT)
				led_set_color_battery(
					RIGHT_PORT,
					(battery_ticks % LED_TICKS_PER_CYCLE <
					 LED_ON_TICKS) ?
						LED_AMBER :
						LED_OFF);
			else
				led_set_color_battery(RIGHT_PORT, LED_OFF);
		}

		if (led_auto_control_is_enabled(EC_LED_ID_LEFT_LED)) {
			if (charge_get_percent() < BATT_LOW_BCT)
				led_set_color_battery(
					LEFT_PORT,
					(battery_ticks % LED_TICKS_PER_CYCLE <
					 LED_ON_TICKS) ?
						LED_AMBER :
						LED_OFF);
			else
				led_set_color_battery(LEFT_PORT, LED_OFF);
		}
		break;
	case PWR_STATE_ERROR:
		if (led_auto_control_is_enabled(EC_LED_ID_RIGHT_LED)) {
			led_set_color_battery(
				RIGHT_PORT,
				(battery_ticks & 0x1) ? LED_AMBER : LED_OFF);
		}

		if (led_auto_control_is_enabled(EC_LED_ID_LEFT_LED)) {
			led_set_color_battery(LEFT_PORT, (battery_ticks & 0x1) ?
								 LED_AMBER :
								 LED_OFF);
		}
		break;
	case PWR_STATE_CHARGE_NEAR_FULL:
		set_active_port_color(LED_WHITE);
		break;
	case PWR_STATE_IDLE: /* External power connected in IDLE */
		set_active_port_color(LED_WHITE);
		break;
	case PWR_STATE_FORCED_IDLE:
		set_active_port_color(
			(battery_ticks % LED_TICKS_PER_CYCLE < LED_ON_TICKS) ?
				LED_AMBER :
				LED_OFF);
		break;
	default:
		/* Other states don't alter LED behavior */
		break;
	}
}

/* Called by hook task every TICK(IT83xx 500ms) */
static void led_tick(void)
{
	led_set_battery();
}
DECLARE_HOOK(HOOK_TICK, led_tick, HOOK_PRIO_DEFAULT);
```

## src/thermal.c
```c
/* Copyright 2022 The ChromiumOS Authors.
 * Use of this source code is governed by a BSD-style license that can be
 * found in the LICENSE file.
 */
#include "chipset.h"
#include "common.h"
#include "fan.h"
#include "temp_sensor/temp_sensor.h"
#include "thermal.h"
#include "util.h"

#define TEMP_CPU TEMP_SENSOR_ID(DT_NODELABEL(temp_cpu))
#define TEMP_5V TEMP_SENSOR_ID(DT_NODELABEL(temp_5v_regulator))
#define TEMP_CHARGER TEMP_SENSOR_ID(DT_NODELABEL(temp_charger))

struct fan_step {
	/*
	 * Sensor 1~3 trigger point, set -1 if we're not using this
	 * sensor to determine fan speed.
	 */
	int8_t on[TEMP_SENSOR_COUNT];
	/*
	 * Sensor 1~3 trigger point, set -1 if we're not using this
	 * sensor to determine fan speed.
	 */
	int8_t off[TEMP_SENSOR_COUNT];
	/* Fan rpm */
	uint16_t rpm[FAN_CH_COUNT];
};

#define FAN_TABLE_ENTRY(nd)                                   \
	{                                                     \
		.on = DT_PROP(nd, temp_on),                   \
		.off = DT_PROP(nd, temp_off),                 \
		.rpm = { DT_PROP_BY_IDX(nd, rpm_target, 0) }, \
	},

static const struct fan_step fan_step_table[] = { DT_FOREACH_CHILD(
	DT_INST(0, cros_ec_fan_steps), FAN_TABLE_ENTRY) };

int fan_table_to_rpm(int fan, int *temp)
{
	/* current fan level */
	static int current_level;
	/* previous sensor temperature */
	static int prev_tmp[TEMP_SENSOR_COUNT];
	int i;
	int new_rpm = 0;
	/*
	 * Compare the current and previous temperature, we have
	 * the three paths :
	 *  1. decreasing path. (check the release point)
	 *  2. increasing path. (check the trigger point)
	 *  3. invariant path. (return the current RPM)
	 */
	if (temp[TEMP_CPU] < prev_tmp[TEMP_CPU] ||
	    temp[TEMP_5V] < prev_tmp[TEMP_5V] ||
	    temp[TEMP_CHARGER] < prev_tmp[TEMP_CHARGER]) {
		for (i = current_level; i > 0; i--) {
			if (temp[TEMP_CPU] < fan_step_table[i].off[TEMP_CPU] &&
			    temp[TEMP_5V] < fan_step_table[i].off[TEMP_5V] &&
			    temp[TEMP_CHARGER] <
				    fan_step_table[i].off[TEMP_CHARGER]) {
				current_level = i - 1;
			} else
				break;
		}
	} else if (temp[TEMP_CPU] > prev_tmp[TEMP_CPU] ||
		   temp[TEMP_5V] > prev_tmp[TEMP_5V] ||
		   temp[TEMP_CHARGER] > prev_tmp[TEMP_CHARGER]) {
		for (i = current_level; i < ARRAY_SIZE(fan_step_table); i++) {
			if (temp[TEMP_CPU] > fan_step_table[i].on[TEMP_CPU] ||
			    (temp[TEMP_5V] > fan_step_table[i].on[TEMP_5V] &&
			     temp[TEMP_CHARGER] >
				     fan_step_table[i].on[TEMP_CHARGER])) {
				current_level = i + 1;
			} else
				break;
		}
	}
	if (current_level < 0)
		current_level = 0;

	if (current_level >= ARRAY_SIZE(fan_step_table))
		current_level = ARRAY_SIZE(fan_step_table) - 1;

	for (i = 0; i < TEMP_SENSOR_COUNT; ++i)
		prev_tmp[i] = temp[i];

	new_rpm = fan_step_table[current_level].rpm[fan];

	return new_rpm;
}

void board_override_fan_control(int fan, int *temp)
{
	if (chipset_in_state(CHIPSET_STATE_ON | CHIPSET_STATE_ANY_SUSPEND)) {
		fan_set_rpm_mode(fan, 1);
		fan_set_rpm_target(fan, fan_table_to_rpm(fan, temp));
	}
}
```
